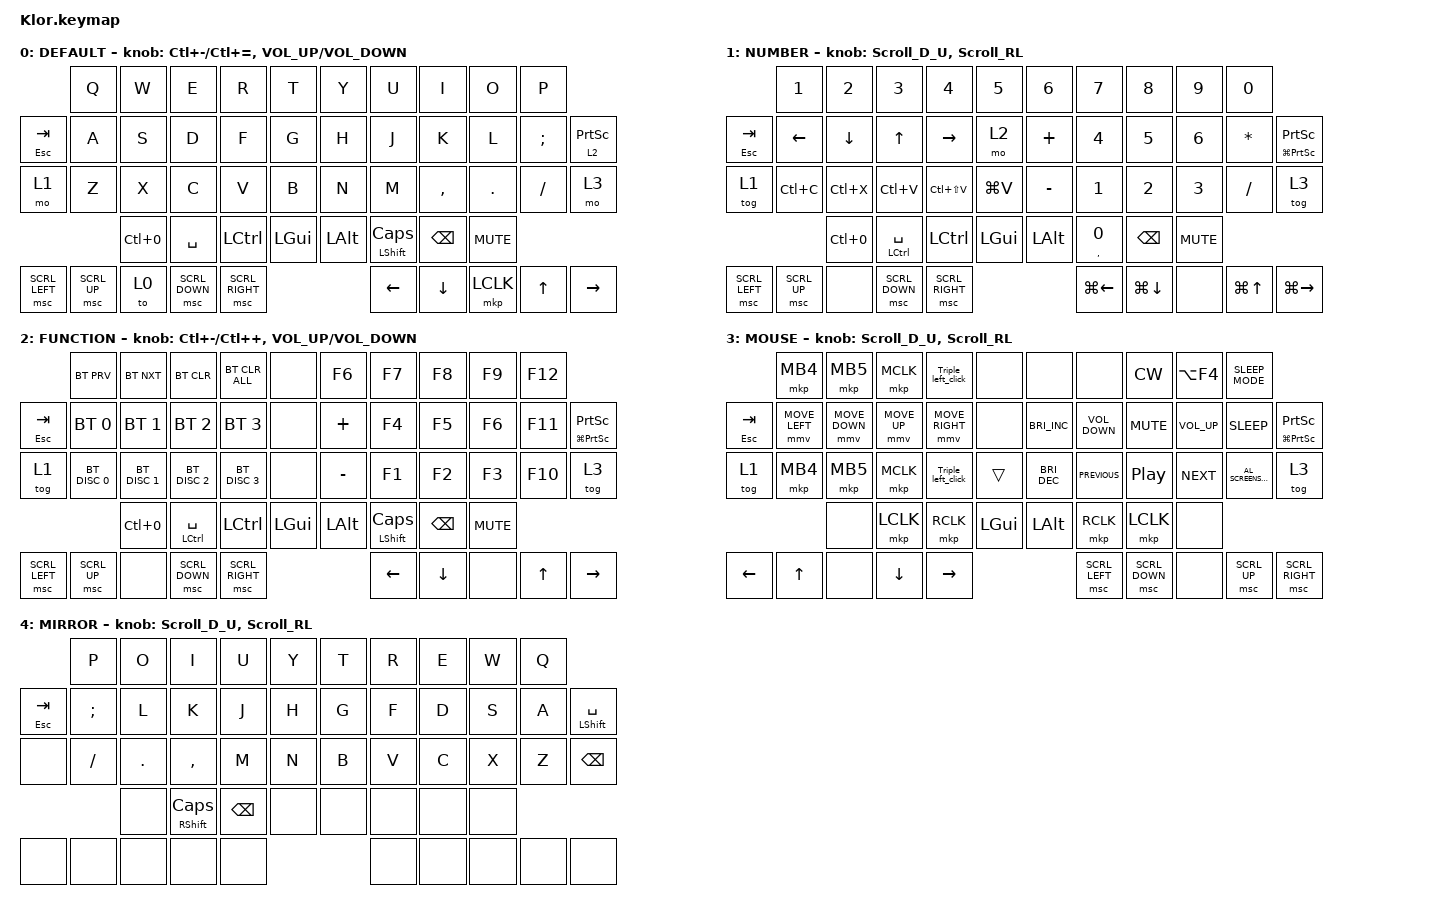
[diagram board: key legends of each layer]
/*
 * Copyright (c) 2020 The ZMK Contributors
 *
 * SPDX-License-Identifier: MIT
 */

#include <input/processors.dtsi>
#include <zephyr/dt-bindings/input/input-event-codes.h>
#include <dt-bindings/zmk/mouse.h>
#include <behaviors/mouse_keys.dtsi>
#include <behaviors.dtsi>
#include <dt-bindings/zmk/bt.h>
#include <dt-bindings/zmk/keys.h>
#include <dt-bindings/zmk/pointing.h>

#define ZMK_POINTING_DEFAULT_MOVE_VAL 1200  // 600
#define ZMK_POINTING_DEFAULT_SCRL_VAL 300   // mousescroll SPEED

&mmv_input_listener { input-processors = <&zip_xy_scaler 2 1>; };

&msc_input_listener { input-processors = <&zip_scroll_scaler 2 1>; };

&msc {
    acceleration-exponent = <1>;      // 0
    time-to-max-speed-ms = <30000>;       // 300                   // 0
    delay-ms = <2000>;
};

&mmv {
    time-to-max-speed-ms = <2000>;
    acceleration-exponent = <1>;
    trigger-period-ms = <10>;
};

&soft_off {
    hold-time-ms = <3000>; // Only turn off it the key is held for 3 seconds or longer.
};

&mt { flavor = "tap-preferred"; };

&lt {
    tapping-term-ms = <300>;
    flavor = "hold-preferred";
};

&sk {
    quick-release;
    lazy;
};

/ {
    behaviors {
        Scroll_D_U: Scroll_D_U {
            compatible = "zmk,behavior-sensor-rotate";
            label = "SCROLL_D_U";
            #sensor-binding-cells = <0>;
            bindings = <&msc SCRL_DOWN>, <&msc SCRL_UP>;

            tap-ms = <200>;
        };

        TD01: TD01 {
            compatible = "zmk,behavior-tap-dance";
            label = "TD01";
            #binding-cells = <0>;
            bindings = <&kp MINUS>, <&kp PERIOD>;
        };

        Scroll_U_D: Scroll_U_D {
            compatible = "zmk,behavior-sensor-rotate";
            label = "SCROLL_U_D";
            #sensor-binding-cells = <0>;
            bindings = <&msc SCRL_UP>, <&msc SCRL_DOWN>;

            tap-ms = <200>;
        };

        Scroll_LR: Scroll_LR {
            compatible = "zmk,behavior-sensor-rotate";
            label = "SCROLL_LR";
            #sensor-binding-cells = <0>;
            bindings = <&msc SCRL_LEFT>, <&msc SCRL_RIGHT>;

            tap-ms = <200>;
        };

        Scroll_RL: Scroll_RL {
            compatible = "zmk,behavior-sensor-rotate";
            label = "SCROLL_RL";
            #sensor-binding-cells = <0>;
            bindings = <&msc SCRL_RIGHT>, <&msc SCRL_LEFT>;

            tap-ms = <200>;
        };

        mouse_DU: mouse_DU {
            compatible = "zmk,behavior-sensor-rotate";
            label = "MOUSE_DU";
            #sensor-binding-cells = <0>;
            bindings = <&mmv MOVE_DOWN>, <&mmv MOVE_UP>;

            tap-ms = <10>;
        };

        mouse_RL: mouse_RL {
            compatible = "zmk,behavior-sensor-rotate";
            label = "MOUSE_RL";
            #sensor-binding-cells = <0>;
            bindings = <&mmv MOVE_RIGHT>, <&mmv MOVE_LEFT>;

            tap-ms = <10>;
        };
    };

    macros {
        Full_Prt_Scr: Full_Prt_Scr {
            compatible = "zmk,behavior-macro";
            #binding-cells = <0>;
            bindings = <&kp LEFT_GUI &kp PRINTSCREEN>;
            label = "FULL_PRT_SCR";
        };

        Triple_left_click: Triple_left_click {
            compatible = "zmk,behavior-macro";
            #binding-cells = <0>;
            bindings = <&mkp LCLK &mkp LCLK &mkp LCLK>;
            label = "TRIPLE_LEFT_CLICK";
        };

        Xen_man_hinh: Xen_man_hinh {
            compatible = "zmk,behavior-macro";
            #binding-cells = <0>;
            bindings = <&kp PRINTSCREEN &to 3>;
            label = "XEN_MAN_HINH";
        };

        CSA: CSA {
            compatible = "zmk,behavior-macro";
            #binding-cells = <0>;
            bindings =
                <&macro_wait_time 2000>,
                <&sk LEFT_CONTROL &sk LEFT_SHIFT &sk LEFT_ALT>,
                <&macro_release>;

            label = "CSA";
        };

        Mui_ten_thuan: Mui_ten_thuan {
            compatible = "zmk,behavior-macro";
            #binding-cells = <0>;
            bindings = <&kp MINUS &kp MINUS &kp GREATER_THAN &kp SPACE>;
            label = "MUI_TEN_THUAN";
        };

        Mui_ten_nguoc: Mui_ten_nguoc {
            compatible = "zmk,behavior-macro";
            #binding-cells = <0>;
            bindings = <&kp LESS_THAN &kp MINUS &kp MINUS &kp SPACE>;
            label = "MUI_TEN_NGUOC";
        };

        CW: CW {
            compatible = "zmk,behavior-macro";
            #binding-cells = <0>;
            bindings =
                <&macro_press>,
                <&kp LEFT_CONTROL &kp LEFT_GUI>,
                <&macro_release>;

            label = "CW";
        };

        Thu_nho_tab: Thu_nho_tab {
            compatible = "zmk,behavior-macro";
            #binding-cells = <0>;
            bindings =
                <&macro_press>,
                <&kp LEFT_ALT &kp SPACE>,
                <&macro_release>,
                <&kp T>;

            label = "THU_NHO_TAB";
        };
    };

    combos {
        compatible = "zmk,combos";

        sym1 {
            bindings = <&kp EXCLAMATION>;
            key-positions = <23 24>;
            layers = <0>;
            slow-release;
            timeout-ms = <20>;
            require-prior-idle-ms = <500>;
        };

        sym2 {
            bindings = <&kp AT_SIGN>;
            key-positions = <24 25>;
            layers = <0>;
            slow-release;
            timeout-ms = <20>;
            require-prior-idle-ms = <500>;
        };

        sym3 {
            bindings = <&kp HASH>;
            key-positions = <25 26>;
            layers = <0>;
            slow-release;
            timeout-ms = <20>;
            require-prior-idle-ms = <500>;
        };

        sym4 {
            bindings = <&kp DOLLAR>;
            key-positions = <26 27>;
            layers = <0>;
            slow-release;
            timeout-ms = <20>;
            require-prior-idle-ms = <500>;
        };

        sym5 {
            bindings = <&kp PERCENT>;
            key-positions = <28 29>;
            layers = <0>;
            slow-release;
            timeout-ms = <20>;
            require-prior-idle-ms = <500>;
        };

        sym6 {
            bindings = <&kp CARET>;
            key-positions = <29 30>;
            layers = <0>;
            slow-release;
            timeout-ms = <20>;
            require-prior-idle-ms = <500>;
        };

        sym7 {
            bindings = <&kp AMPERSAND>;
            key-positions = <30 31>;
            layers = <0>;
            slow-release;
            timeout-ms = <20>;
            require-prior-idle-ms = <500>;
        };

        sym8 {
            bindings = <&kp ASTERISK>;
            key-positions = <31 31 32 31>;
            layers = <0>;
            slow-release;
            timeout-ms = <100>;
            require-prior-idle-ms = <500>;
        };

        Mo_ngoac_nhon {
            bindings = <&kp LEFT_BRACE>;
            key-positions = <11 12>;
            layers = <0>;
            slow-release;
            timeout-ms = <20>;
            require-prior-idle-ms = <500>;
        };

        Dong_ngoac_nhon {
            bindings = <&kp RIGHT_BRACE>;
            key-positions = <20 19>;
            layers = <0>;
            slow-release;
            timeout-ms = <20>;
            require-prior-idle-ms = <500>;
        };

        Mo_ngoac_vuong {
            bindings = <&kp LEFT_BRACKET>;
            key-positions = <12 13>;
            layers = <0>;
            slow-release;
            timeout-ms = <20>;
            require-prior-idle-ms = <500>;
        };

        Dong_ngoac_vuong {
            bindings = <&kp RIGHT_BRACKET>;
            key-positions = <19 18>;
            layers = <0>;
            slow-release;
            timeout-ms = <20>;
            require-prior-idle-ms = <500>;
        };

        Mo_ngoac_don {
            bindings = <&kp LEFT_PARENTHESIS>;
            key-positions = <13 14>;
            layers = <0>;
            slow-release;
            timeout-ms = <20>;
            require-prior-idle-ms = <500>;
        };

        Dong_ngoac_don {
            bindings = <&kp RIGHT_PARENTHESIS>;
            key-positions = <18 17>;
            layers = <0>;
            slow-release;
            timeout-ms = <20>;
            require-prior-idle-ms = <500>;
        };

        Ngoac_don {
            bindings = <&kp SINGLE_QUOTE>;
            key-positions = <14 15>;
            layers = <0>;
            slow-release;
            timeout-ms = <20>;
            require-prior-idle-ms = <500>;
        };

        Ngoac_kep {
            bindings = <&kp DOUBLE_QUOTES>;
            key-positions = <17 16>;
            layers = <0>;
            slow-release;
            timeout-ms = <20>;
            require-prior-idle-ms = <500>;
        };

        Huyen {
            bindings = <&kp GRAVE>;
            key-positions = <0 1>;
            layers = <0>;
            slow-release;
            timeout-ms = <20>;
            require-prior-idle-ms = <500>;
        };

        Nga {
            bindings = <&kp TILDE>;
            key-positions = <9 8>;
            layers = <0>;
            slow-release;
            timeout-ms = <20>;
            require-prior-idle-ms = <500>;
        };

        Gach_ngang {
            bindings = <&kp MINUS>;
            key-positions = <1 2>;
            layers = <0>;
            slow-release;
            timeout-ms = <20>;
            require-prior-idle-ms = <500>;
        };

        Gach_chan {
            bindings = <&kp UNDERSCORE>;
            key-positions = <8 7>;
            layers = <0>;
            slow-release;
            require-prior-idle-ms = <500>;
            timeout-ms = <20>;
        };

        Dau_bang {
            bindings = <&kp EQUAL>;
            key-positions = <2 3>;
            layers = <0>;
            slow-release;
            timeout-ms = <20>;
            require-prior-idle-ms = <500>;
        };

        Dau_cong {
            bindings = <&kp PLUS>;
            key-positions = <7 6>;
            layers = <0>;
            slow-release;
            timeout-ms = <20>;
            require-prior-idle-ms = <500>;
        };

        Gach_ngieng {
            bindings = <&kp NON_US_BACKSLASH>;
            key-positions = <3 4>;
            layers = <0>;
            slow-release;
            timeout-ms = <20>;
            require-prior-idle-ms = <500>;
        };

        Gach_thang {
            bindings = <&kp PIPE>;
            key-positions = <6 5>;
            layers = <0>;
            slow-release;
            timeout-ms = <20>;
            require-prior-idle-ms = <500>;
        };

        Home {
            bindings = <&kp HOME>;
            key-positions = <11 0>;
            layers = <0>;
            slow-release;
            timeout-ms = <300>;
        };

        Page_down {
            bindings = <&kp PAGE_DOWN>;
            key-positions = <12 1>;
            layers = <0>;
            slow-release;
            timeout-ms = <300>;
        };

        Page_up {
            bindings = <&kp PAGE_UP>;
            key-positions = <13 2>;
            layers = <0>;
            slow-release;
            timeout-ms = <300>;
        };

        End {
            bindings = <&kp END>;
            key-positions = <14 3>;
            layers = <0>;
            slow-release;
            timeout-ms = <300>;
        };

        Di_chuot_trai {
            bindings = <&mmv MOVE_LEFT>;
            key-positions = <17 6>;
            layers = <0 1 2 4>;
            slow-release;
            timeout-ms = <300>;
        };

        Di_chuot_len {
            bindings = <&mmv MOVE_UP>;
            key-positions = <18 7>;
            layers = <0 1 2 4>;
            slow-release;
            timeout-ms = <300>;
        };

        Di_chuot_xuong {
            bindings = <&mmv MOVE_DOWN>;
            key-positions = <19 8>;
            layers = <0 1 2 4>;
            slow-release;
            timeout-ms = <300>;
        };

        Di_chuot_phai {
            bindings = <&mmv MOVE_RIGHT>;
            key-positions = <20 9>;
            layers = <0 1 2 4>;
            slow-release;
            timeout-ms = <300>;
        };

        Delete {
            bindings = <&kp DELETE>;
            key-positions = <18 17 19>;
            layers = <0 1 2 4>;
        };

        Enter {
            bindings = <&kp ENTER>;
            key-positions = <12 13 14>;
            layers = <0 4>;
        };

        Left_arrow {
            bindings = <&kp LEFT_ARROW>;
            key-positions = <11 23>;
            layers = <0 3 4>;
            slow-release;
            timeout-ms = <300>;
        };

        Down_arrow {
            bindings = <&kp DOWN_ARROW>;
            key-positions = <24 12>;
            layers = <0 3 4>;
            slow-release;
            timeout-ms = <300>;
        };

        Up_arrow {
            bindings = <&kp UP_ARROW>;
            key-positions = <25 13>;
            layers = <0 3 4>;
            slow-release;
            timeout-ms = <300>;
        };

        Right_arrow {
            bindings = <&kp RIGHT_ARROW>;
            key-positions = <26 14>;
            layers = <0 3 4>;
            slow-release;
            timeout-ms = <300>;
        };

        Mui_ten_thuan {
            bindings = <&Mui_ten_thuan>;
            key-positions = <15 27>;
            layers = <0>;
        };

        Mui_ten_nguoc {
            bindings = <&Mui_ten_nguoc>;
            key-positions = <28 16>;
            layers = <0>;
        };

        Khoa_Number {
            bindings = <&to 1>;
            key-positions = <20 22>;
            slow-release;
            timeout-ms = <300>;
        };

        Khoa_Mouse {
            bindings = <&to 3>;
            key-positions = <20 33>;
            slow-release;
            timeout-ms = <300>;
        };

        Default {
            bindings = <&to 0>;
            key-positions = <22 33>;
            layers = <0 2 3 4>;
            slow-release;
            timeout-ms = <300>;
        };

        Chuot_trai {
            bindings = <&mkp LCLK>;
            key-positions = <26 25 24>;
            layers = <0 1 2 4>;
            timeout-ms = <300>;
        };

        Chuot_phai {
            bindings = <&mkp RCLK>;
            key-positions = <3 2 1>;
            layers = <0 1 2 4>;
            timeout-ms = <300>;
        };

        Mo_ngoac_Number {
            bindings = <&kp LEFT_PARENTHESIS>;
            key-positions = <16 28>;
            layers = <1>;
            slow-release;
            timeout-ms = <200>;
        };

        Dong_ngoac_number {
            bindings = <&kp RIGHT_PARENTHESIS>;
            key-positions = <32 20>;
            layers = <1>;
            slow-release;
            timeout-ms = <200>;
        };

        Cuon_trai {
            bindings = <&msc SCRL_LEFT>;
            key-positions = <17 29>;
            layers = <0 1 2 3 4>;
            slow-release;
            timeout-ms = <300>;
        };

        Cuon_len {
            bindings = <&msc SCRL_UP>;
            key-positions = <30 18>;
            layers = <0 1 2 3 4>;
            slow-release;
            timeout-ms = <300>;
        };

        Cuon_xuong {
            bindings = <&msc SCRL_DOWN>;
            key-positions = <19 31>;
            layers = <0 1 2 3 4>;
            slow-release;
            timeout-ms = <300>;
        };

        Cuon_phai {
            bindings = <&msc SCRL_UP>;
            key-positions = <32 20>;
            layers = <0 1 2 4 3>;
            slow-release;
            timeout-ms = <300>;
        };

        Dau_bang_NUMBER {
            bindings = <&mt ENTER EQUAL>;
            key-positions = <29 30 31>;
            timeout-ms = <20>;
            require-prior-idle-ms = <500>;
            layers = <1 2>;
        };

        Khoa_Function {
            bindings = <&to 2>;
            key-positions = <20 21>;
            timeout-ms = <300>;
            slow-release;
            layers = <0>;
        };
    };

    keymap {
        compatible = "zmk,keymap";

        DEFAULT {
            display-name = "DEFAULT";
            bindings = <
                &kp Q         &kp W       &kp E           &kp R             &kp T         &kp Y         &kp U                    &kp I          &kp O       &kp P
&mt ESC TAB     &kp A         &kp S       &kp D           &kp F             &kp G         &kp H         &kp J                    &kp K          &kp L       &kp SEMI  &lt 2 PRINTSCREEN
&mo 1           &kp Z         &kp X       &kp C           &kp V             &kp B         &kp N         &kp M                    &kp COMMA      &kp DOT     &kp FSLH  &mo 3
                              &kp LC(N0)  &kp SPACE       &kp LEFT_CONTROL  &kp LEFT_GUI  &kp LEFT_ALT  &mt LEFT_SHIFT CAPSLOCK  &kp BACKSPACE  &kp C_MUTE
&msc SCRL_LEFT  &msc SCRL_UP  &to 0       &msc SCRL_DOWN  &msc SCRL_RIGHT                               &kp LEFT                 &kp DOWN       &mkp LCLK   &kp UP    &kp RIGHT
            >;

            sensor-bindings =
                <&inc_dec_kp LC(MINUS) LC(EQUAL)>,
                <&inc_dec_kp C_VOLUME_UP C_VOLUME_DOWN>;
        };

        NUMBER {
            display-name = "NUMBER";
            bindings = <
                &kp NUMBER_1    &kp NUMBER_2      &kp NUMBER_3            &kp NUMBER_4      &kp NUMBER_5  &kp NUMBER_6  &kp NUMBER_7        &kp NUMBER_8        &kp NUMBER_9  &kp NUMBER_0
&mt ESCAPE TAB  &kp LEFT_ARROW  &kp DOWN_ARROW    &kp UP_ARROW            &kp RIGHT_ARROW   &mo 2         &kp PLUS      &kp NUMBER_4        &kp NUMBER_5        &kp NUMBER_6  &kp ASTERISK      &mt LG(PRINTSCREEN) PRINTSCREEN
&tog 1          &kp LC(C)       &kp LC(X)         &kp LC(V)               &kp LC(LS(V))     &kp LG(V)     &kp MINUS     &kp NUMBER_1        &kp NUMBER_2        &kp NUMBER_3  &kp SLASH         &tog 3
                                &kp LC(NUMBER_0)  &mt LEFT_CONTROL SPACE  &kp LEFT_CONTROL  &kp LEFT_GUI  &kp LEFT_ALT  &mt COMMA NUMBER_0  &kp BACKSPACE       &kp C_MUTE
&msc SCRL_LEFT  &msc SCRL_UP    &none             &msc SCRL_DOWN          &msc SCRL_RIGHT                               &kp LG(LEFT_ARROW)  &kp LG(DOWN_ARROW)  &none         &kp LG(UP_ARROW)  &kp LG(RIGHT_ARROW)
            >;

            sensor-bindings = <&Scroll_D_U>, <&Scroll_RL>;
        };

        FUNCTION {
            display-name = "FUNCTION";
            bindings = <
                &bt BT_PRV     &bt BT_NXT        &bt BT_CLR              &bt BT_CLR_ALL    &none         &kp F6        &kp F7                   &kp F8          &kp F9      &kp F12
&mt ESCAPE TAB  &bt BT_SEL 0   &bt BT_SEL 1      &bt BT_SEL 2            &bt BT_SEL 3      &none         &kp PLUS      &kp F4                   &kp F5          &kp F6      &kp F11       &mt LG(PRINTSCREEN) PRINTSCREEN
&tog 1          &bt BT_DISC 0  &bt BT_DISC 1     &bt BT_DISC 2           &bt BT_DISC 3     &none         &kp MINUS     &kp F1                   &kp F2          &kp F3      &kp F10       &tog 3
                               &kp LC(NUMBER_0)  &mt LEFT_CONTROL SPACE  &kp LEFT_CONTROL  &kp LEFT_GUI  &kp LEFT_ALT  &mt LEFT_SHIFT CAPSLOCK  &kp BACKSPACE   &kp C_MUTE
&msc SCRL_LEFT  &msc SCRL_UP   &none             &msc SCRL_DOWN          &msc SCRL_RIGHT                               &kp LEFT_ARROW           &kp DOWN_ARROW  &none       &kp UP_ARROW  &kp RIGHT_ARROW
            >;

            sensor-bindings =
                <&inc_dec_kp LC(MINUS) LC(PLUS)>,
                <&inc_dec_kp C_VOLUME_UP C_VOLUME_DOWN>;
        };

        MOUSE {
            display-name = "MOUSE";
            bindings = <
                &mkp MB4        &mkp MB5        &mkp MCLK       &Triple_left_click  &none         &none                 &none              &CW               &kp LA(F4)       &kp C_SLEEP_MODE
&mt ESCAPE TAB  &mmv MOVE_LEFT  &mmv MOVE_DOWN  &mmv MOVE_UP    &mmv MOVE_RIGHT     &none         &kp C_BRIGHTNESS_INC  &kp C_VOLUME_DOWN  &kp C_MUTE        &kp C_VOLUME_UP  &kp C_SLEEP           &mt LG(PRINTSCREEN) PRINTSCREEN
&tog 1          &mkp MB4        &mkp MB5        &mkp MCLK       &Triple_left_click  &trans        &kp C_BRIGHTNESS_DEC  &kp C_PREVIOUS     &kp C_PLAY_PAUSE  &kp C_NEXT       &kp C_AL_SCREENSAVER  &tog 3
                                &none           &mkp LCLK       &mkp RCLK           &kp LEFT_GUI  &kp LEFT_ALT          &mkp RCLK          &mkp LCLK         &none
&kp LEFT_ARROW  &kp UP_ARROW    &none           &kp DOWN_ARROW  &kp RIGHT_ARROW                                         &msc SCRL_LEFT     &msc SCRL_DOWN    &none            &msc SCRL_UP          &msc SCRL_RIGHT
            >;

            sensor-bindings = <&Scroll_D_U>, <&Scroll_RL>;
        };

        MIRROR {
            bindings = <
                &kp P          &kp O       &kp I                     &kp U          &kp Y  &kp T  &kp R  &kp E  &kp W  &kp Q
&mt ESCAPE TAB  &kp SEMICOLON  &kp L       &kp K                     &kp J          &kp H  &kp G  &kp F  &kp D  &kp S  &kp A  &mt LEFT_SHIFT SPACE
&none           &kp SLASH      &kp PERIOD  &kp COMMA                 &kp M          &kp N  &kp B  &kp V  &kp C  &kp X  &kp Z  &kp BACKSPACE
                               &none       &mt RIGHT_SHIFT CAPSLOCK  &kp BACKSPACE  &none  &none  &none  &none  &none
&none           &none          &none       &none                     &none                        &none  &none  &none  &none  &none
            >;

            sensor-bindings = <&Scroll_D_U>, <&Scroll_RL>;
        };
    };
};
